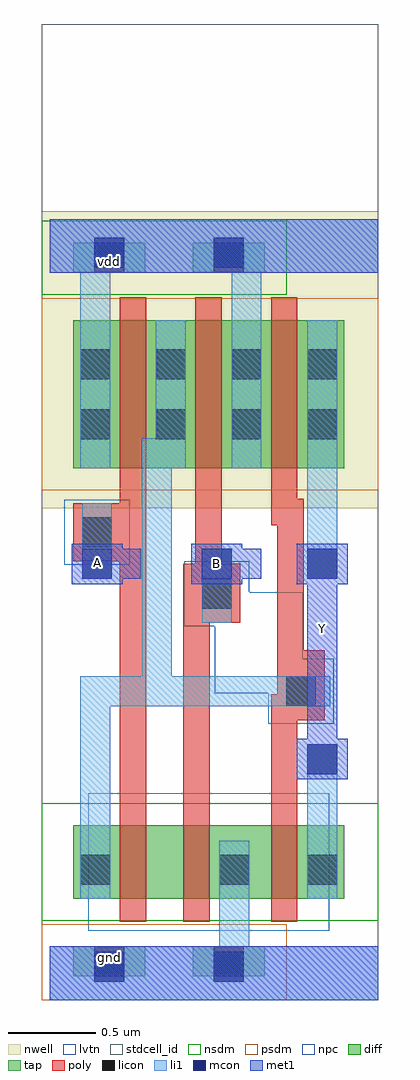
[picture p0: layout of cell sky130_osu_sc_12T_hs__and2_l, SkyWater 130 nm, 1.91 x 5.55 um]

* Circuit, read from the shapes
.subckt sky130_osu_sc_12T_hs__and2_l A B Y gnd vdd
XM1 n1 A n2 gnd sky130_fd_pr__nfet_01v8_lvt w=0.42 l=0.15
XM2 gnd B n1 gnd sky130_fd_pr__nfet_01v8_lvt w=0.42 l=0.15
XM3 Y n2 gnd gnd sky130_fd_pr__nfet_01v8_lvt w=0.42 l=0.15
XM4 n2 A vdd vdd sky130_fd_pr__pfet_01v8 w=0.84 l=0.15
XM5 vdd B n2 vdd sky130_fd_pr__pfet_01v8 w=0.84 l=0.15
XM6 Y n2 vdd vdd sky130_fd_pr__pfet_01v8 w=0.84 l=0.15
.ends

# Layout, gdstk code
import gdstk
lib = gdstk.Library(unit=1e-6, precision=1e-09)
def R(c, l, rs):  # rectangles x0, y0, x1, y1
    for r in rs: c.add(gdstk.rectangle(r[:2], r[2:], *l))
def A(c, l, x, y, w, h, nx, ny, dx, dy):  # array of equal rectangles
    R(c, l, [(x+i*dx, y+j*dy, x+i*dx+w, y+j*dy+h) for i in range(nx) for j in range(ny)])
nwell = (64, 20)
diff = (65, 20)
tap = (65, 44)
poly = (66, 20)
licon = (66, 44)
li1 = (67, 20)
mcon = (67, 44)
met1 = (68, 20)
stdcell_id = (81, 4)
nsdm = (93, 44)
psdm = (94, 20)
npc = (95, 20)
lvtn = (125, 44)

sky130_osu_sc_12t_hs__an = lib.new_cell('sky130_osu_sc_12T_hs__and2_l')
R(sky130_osu_sc_12t_hs__an, nwell, [(-0.045,2.795,1.87,4.485)])
R(sky130_osu_sc_12t_hs__an, diff, [(0.135,0.575,1.675,0.995), (0.135,3.025,1.675,3.865)])
R(sky130_osu_sc_12t_hs__an, tap, [(0.135,0.135,0.545,0.305), (0.815,0.135,1.225,0.305), (0.135,4.135,0.545,4.305), (0.815,4.135,1.225,4.305)])
R(sky130_osu_sc_12t_hs__an, poly, [(0.4,0.445,0.55,2.495), (0.76,0.445,0.91,2.145), (1.26,0.445,1.41,1.59), (1.26,1.59,1.565,1.74), (1.295,1.74,1.565,1.99), (1.295,1.99,1.445,2.7), (0.76,2.145,1.085,2.48), (0.83,2.48,0.98,3.995), (0.135,2.495,0.55,2.825), (1.26,2.7,1.445,2.85), (0.4,2.825,0.55,3.995), (1.26,2.85,1.41,3.995)])
A(sky130_osu_sc_12t_hs__an, licon, 0.175, 3.19, 0.17, 0.17, 4, 2, 0.43, 0.34)
R(sky130_osu_sc_12t_hs__an, licon, [(0.255,0.135,0.425,0.305), (0.935,0.135,1.105,0.305), (0.175,0.655,0.345,0.825), (0.965,0.655,1.135,0.825), (1.465,0.655,1.635,0.825), (1.345,1.67,1.515,1.84), (0.865,2.225,1.035,2.395), (0.185,2.575,0.355,2.745), (0.255,4.135,0.425,4.305), (0.935,4.135,1.105,4.305)])
R(sky130_osu_sc_12t_hs__an, li1, [(0,0,1.87,0.305), (0.965,0.305,1.135,0.905), (0.175,0.575,0.345,1.67), (1.465,0.575,1.635,1.455), (0.175,1.67,1.595,1.84), (0.525,1.84,0.695,3.025), (0.865,2.145,1.035,2.565), (0.185,2.395,0.355,2.825), (1.465,2.395,1.635,3.865), (0.175,3.025,0.345,4.135), (0.525,3.025,0.775,3.195), (1.035,3.025,1.205,4.135), (0.605,3.195,0.775,3.865), (0,4.135,1.87,4.44)])
R(sky130_osu_sc_12t_hs__an, mcon, [(0.255,0.105,0.425,0.275), (0.935,0.105,1.105,0.275), (1.465,1.285,1.635,1.455), (0.185,2.395,0.355,2.565), (0.865,2.395,1.035,2.565), (1.465,2.395,1.635,2.565), (0.255,4.165,0.425,4.335), (0.935,4.165,1.105,4.335)])
R(sky130_osu_sc_12t_hs__an, met1, [(0,0,1.87,0.305), (1.405,1.255,1.695,1.485), (1.465,1.485,1.635,2.365), (0.125,2.365,0.415,2.395), (0.805,2.365,1.095,2.395), (1.405,2.365,1.695,2.595), (0.125,2.395,0.52,2.565), (0.805,2.395,1.205,2.565), (0.125,2.565,0.415,2.595), (0.805,2.565,1.095,2.595), (0,4.135,1.87,4.44)])
R(sky130_osu_sc_12t_hs__an, stdcell_id, [(-0.045,0,1.87,5.55)])
R(sky130_osu_sc_12t_hs__an, nsdm, [(-0.045,0.45,1.87,1.12), (-0.045,4.01,1.35,4.43)])
R(sky130_osu_sc_12t_hs__an, psdm, [(-0.045,0,1.35,0.43), (-0.045,2.9,1.87,3.99)])
R(sky130_osu_sc_12t_hs__an, npc, [(1.245,1.57,1.615,1.745), (0.94,1.745,1.615,1.94), (0.94,1.94,1.44,2.125), (0.765,2.125,1.44,2.32), (0.765,2.32,1.135,2.495), (0.085,2.475,0.455,2.845)])
R(sky130_osu_sc_12t_hs__an, lvtn, [(0.22,0.395,1.59,1.175)])
sky130_osu_sc_12t_hs__an.add(gdstk.Label('gnd', (0.34,0.24), layer=68, texttype=16))
sky130_osu_sc_12t_hs__an.add(gdstk.Label('vdd', (0.34,4.2), layer=68, texttype=16))
sky130_osu_sc_12t_hs__an.add(gdstk.Label('A', (0.27,2.485), layer=68, texttype=5))
sky130_osu_sc_12t_hs__an.add(gdstk.Label('Y', (1.555,2.11), layer=68, texttype=5))
sky130_osu_sc_12t_hs__an.add(gdstk.Label('B', (0.95,2.48), layer=68, texttype=5))

lib.write_gds('sky130_osu_sc_12T_hs__and2_l.gds')
